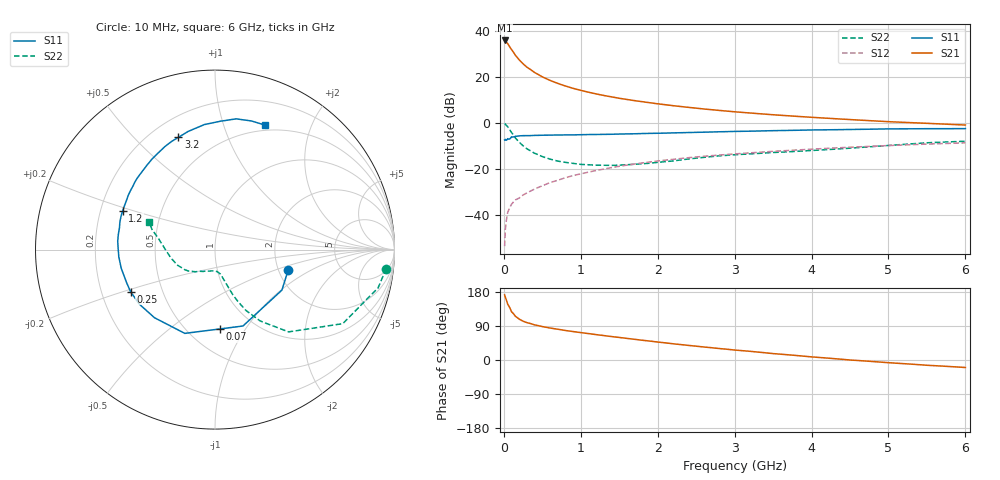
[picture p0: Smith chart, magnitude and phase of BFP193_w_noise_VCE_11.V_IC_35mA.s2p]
! Infineon Technologies  Discrete & RF Semiconductors
! BFP193
! VCE =  11. V,  IC =  35 mA
! Common Emitter S-Parameters:  Jan 2017
# GHz  S  MA  R  50
!  f  S11  S21  S12  S22
! GHz  MAG  ANG  MAG  ANG  MAG  ANG  MAG  ANG
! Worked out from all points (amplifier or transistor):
!   77 points, 10 MHz to 6 GHz, reference 50 ohm
!   highest |S21| = 35.7 dB at 10 MHz (marker M1)
!   |S21| within 3 dB of that: start of sweep to 80.89 MHz
!   unconditionally stable (mu >= 1): 723.2 MHz to 2.423 GHz
!   at 130 MHz: K = 0.49, MSG = 32.3 dB, |S12| = -34.2 dB
!   at 2.2 GHz: K = 1.02, MAG = 10.9 dB, |S12| = -15.9 dB
!   at 6 GHz: K = 0.90, MSG = 3.9 dB, |S12| = -8.7 dB
!   lowest NFmin = 1.29 dB at 450 MHz
!   S11 on the Smith chart (normalised r, x): 10 MHz: 2.27, -0.62; 70 MHz: 0.70, -0.77; 250 MHz: 0.33, -0.21; 1.2 GHz: 0.29, +0.19; 3.2 GHz: 0.31, +0.68; 6 GHz: 0.44, +1.38
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0.01  0.4236 -15.3  61.25 172.0  0.0021 75.6  0.9601 -6.3
0.02  0.4358 -31.2  60.52 165.4  0.0049 83.1  0.9334 -13.2
0.05  0.4532 -69.9  52.31 147.3  0.0113 66.3  0.8228 -30.1
0.07  0.4429 -86.6  46.31 140.7  0.0136 62.0  0.7315 -36.1
0.1  0.4962 -109.8  38.9 127.2  0.0171 57.7  0.615 -48.2
0.15  0.5077 -131.6  29.3 115.4  0.0212 55.1  0.4701 -57.7
0.2  0.52 -144.4  23.19 107.9  0.0233 55.9  0.3791 -63.1
0.25  0.5256 -153.5  19.06 102.4  0.0271 55.7  0.3172 -66.1
0.3  0.5259 -159.6  16.11 98.6  0.03 58.0  0.2722 -68.4
0.4  0.5327 -168.7  12.33 92.6  0.0365 60.9  0.2178 -70.8
0.5  0.5374 -175.6  9.931 88.2  0.0429 62.2  0.185 -72.8
0.7  0.544 175.0  7.167 81.2  0.0565 65.0  0.1476 -76.0
0.9  0.5459 167.2  5.594 75.1  0.0714 64.7  0.1317 -80.5
1.1  0.5558 160.3  4.614 69.7  0.085 63.9  0.1227 -85.4
1.2  0.5578 157.1  4.234 67.0  0.0922 63.2  0.1203 -88.5
1.6  0.5739 145.3  3.207 57.0  0.1206 60.0  0.1229 -102.9
2.1  0.5975 131.7  2.466 45.2  0.1546 54.8  0.1434 -122.3
3.1  0.6534 109.9  1.682 24.6  0.2166 43.2  0.2068 -149.1
3.2  0.6578 108.1  1.632 22.9  0.2224 42.1  0.2113 -151.4
4.1  0.7015 93.4  1.286 6.7  0.2731 32.0  0.2557 -172.1
5.1  0.7386 79.5  1.04 -8.4  0.3253 20.8  0.3309 167.3
6  0.7476 68.2  0.894 -19.8  0.3673 10.8  0.3985 157.3
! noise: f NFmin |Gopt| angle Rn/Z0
0.45  1.29  0.37  -172  0.08
0.9  1.35  0.4  -169  0.08
1.9  1.95  0.58  -135  0.18
2.4  2.29  0.62  -120  0.4
